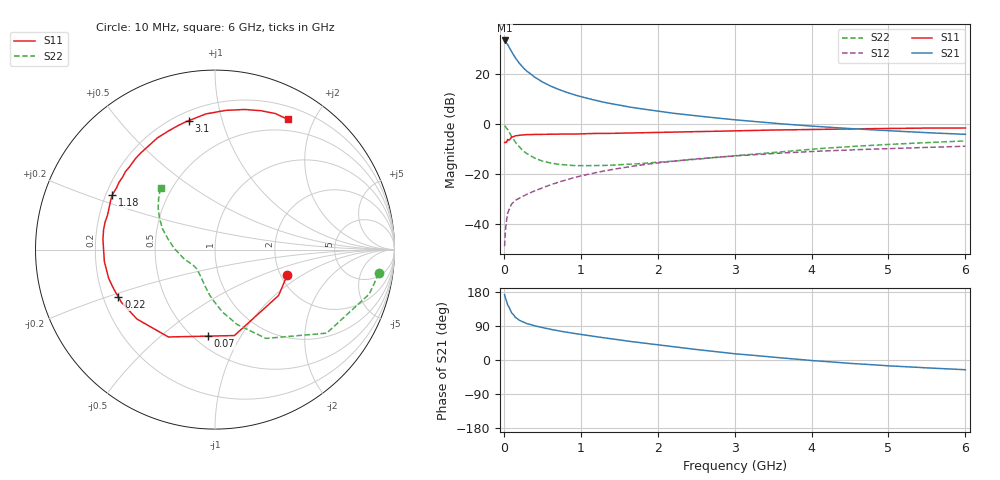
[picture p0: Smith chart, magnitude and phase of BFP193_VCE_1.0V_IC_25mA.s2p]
! Infineon Technologies  Discrete & RF Semiconductors
! BFP193
! VCE = 1.0 V,  IC =  25 mA
! Common Emitter S-Parameters:  Jan 2016
# GHz  S  MA  R  50
!  f  S11  S21  S12  S22
! GHz  MAG  ANG  MAG  ANG  MAG  ANG  MAG  ANG
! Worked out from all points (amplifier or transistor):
!   210 points, 10 MHz to 6 GHz, reference 50 ohm
!   highest |S21| = 33.2 dB at 10 MHz (marker M1)
!   |S21| within 3 dB of that: start of sweep to 74.15 MHz
!   unconditionally stable (mu >= 1): 596.9 MHz to 4.283 GHz
!   at 185 MHz: K = 0.57, MSG = 27.3 dB, |S12| = -29.8 dB
!   at 1.52 GHz: K = 1.09, MAG = 10.6 dB, |S12| = -17.6 dB
!   at 6 GHz: K = 0.97, MSG = 2.4 dB, |S12| = -8.9 dB
!   S11 on the Smith chart (normalised r, x): 10 MHz: 2.18, -0.75; 70 MHz: 0.58, -0.74; 220 MHz: 0.26, -0.22; 1.18 GHz: 0.23, +0.24; 3.1 GHz: 0.25, +0.79; 6 GHz: 0.35, +1.65
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0.01  0.427 -19.2  45.91 172.5  0.0037 84.7  0.9223 -8.3
0.02  0.4369 -35.9  44.11 163.9  0.0073 75.1  0.8944 -16.1
0.05  0.491 -77.3  38.05 145.1  0.0168 63.4  0.7771 -36.8
0.07  0.4837 -94.6  33.4 138.5  0.0201 57.8  0.682 -44.4
0.1  0.5518 -118.1  27.61 124.6  0.0254 52.3  0.5708 -60.1
0.15  0.5821 -138.3  20.59 112.5  0.0302 48.3  0.4337 -73.7
0.2  0.5984 -150.6  16.24 105.1  0.0333 47.9  0.3501 -83.2
0.22  0.5998 -153.9  15.02 103.2  0.0345 48.2  0.3264 -85.8
0.26  0.6067 -160.1  12.81 99.1  0.0371 48.8  0.2852 -91.6
0.3  0.6137 -164.9  11.19 95.9  0.0399 50.1  0.2576 -96.3
0.4  0.6201 -173.9  8.545 90.2  0.0465 52.9  0.2095 -105.6
0.5  0.621 -179.9  6.857 85.5  0.0535 55.2  0.1827 -112.9
0.6  0.627 174.7  5.749 81.2  0.061 56.6  0.1681 -118.9
0.7  0.6306 169.9  4.956 77.1  0.0686 57.5  0.1587 -124.0
1.02  0.6362 157.5  3.433 66.9  0.0938 57.7  0.1479 -135.8
1.18  0.647 152.0  2.986 62.0  0.106 57.0  0.1485 -140.8
1.6  0.6613 139.0  2.213 50.2  0.1385 53.2  0.1572 -151.1
2.02  0.6793 127.2  1.779 39.5  0.1695 48.5  0.1739 -160.9
3.1  0.7332 101.4  1.175 14.8  0.2368 34.9  0.2396 174.2
4.1  0.7812 84.0  0.886 -2.8  0.2877 23.0  0.3233 156.5
5.1  0.8169 70.6  0.722 -16.4  0.3274 11.8  0.3986 142.5
6  0.8312 60.9  0.622 -25.7  0.3603 2.1  0.4593 131.2
